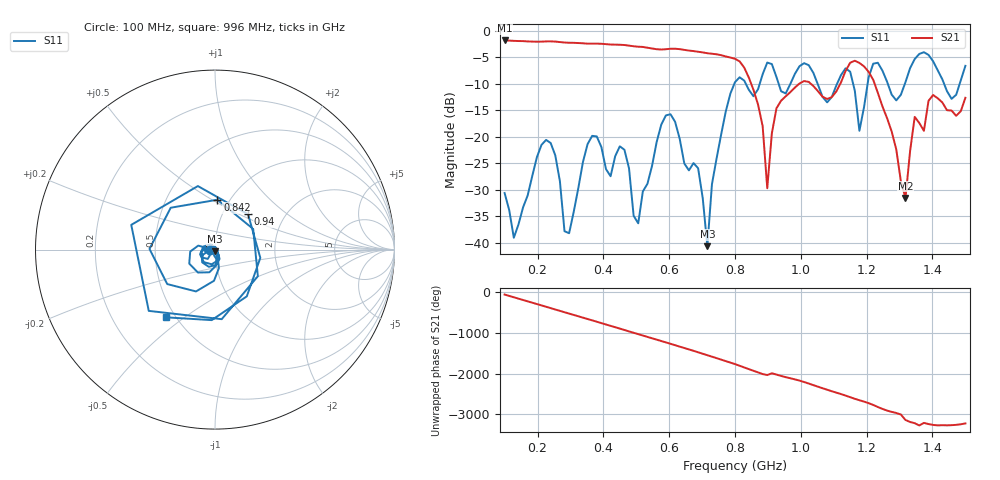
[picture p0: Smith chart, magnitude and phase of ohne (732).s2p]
! NanoVNA-App
! Date: 2025-09-25 14:26:30
! Start: 100MHz Stop: 1,5GHz Points: 101
! S-Parameter data: F S11 S21 S12 S22
# Hz S RI R 50
!  Frequency  S11_Real  S11_Imag  S21_Real  S21_Imag  S12_Real  S12_Imag  S22_Real  S22_Imag
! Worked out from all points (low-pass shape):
!   101 points, 100 MHz to 1.5 GHz, reference 50 ohm
!   highest |S21| = -1.79 dB at 100 MHz (marker M1); lowest = -31.6 dB at 1.318 GHz (marker M2)
!   |S21| within 3 dB of the highest: start of sweep to 770.6 MHz
!   lowest |S11| = -40.7 dB at 716 MHz (marker M3), VSWR 1.02, Z = 49.9 - j0.912 ohm
!   |S11| at or under -10 dB: start of sweep to 797.9 MHz; 833 MHz to 875 MHz (42.07 MHz wide, 4.93 % of centre); 1.051 GHz to 1.11 GHz (58.87 MHz wide, 5.45 % of centre) (the widest 3 of 7)
!   S12 and S22 are empty: the file has one direction only
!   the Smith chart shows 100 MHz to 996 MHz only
!   S11 on the Smith chart (normalised r, x): 100 MHz: 0.94, -0.01; 842 MHz: 0.88, +0.53; 940 MHz: 1.32, +0.56; 996 MHz: 0.45, -0.43
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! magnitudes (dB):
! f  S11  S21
! 100 MHz  -30.6  -1.8
! 128 MHz  -39.1  -1.9
! 226 MHz  -20.6  -2.0
! 296 MHz  -38.2  -2.2
! 338 MHz  -24.8  -2.3
! 464 MHz  -22.5  -2.7
! 506 MHz  -36.4  -3.0
! 576 MHz  -17.7  -3.5
! 688 MHz  -26.0  -3.9
! 716 MHz  -40.7  -4.2
! 800 MHz  -9.7  -5.3
! 842 MHz  -11.1  -8.8
! 898 MHz  -6.0  -29.7
! 940 MHz  -11.4  -13.2
! 996 MHz  -6.7  -9.9
! 1.038 GHz  -7.9  -10.4
! 1.178 GHz  -18.9  -6.0
! 1.22 GHz  -6.2  -9.2
! 1.276 GHz  -12.0  -19.0
! 1.318 GHz  -9.7  -31.6
! 1.346 GHz  -5.3  -16.2
! 1.5 GHz  -6.6  -12.6
